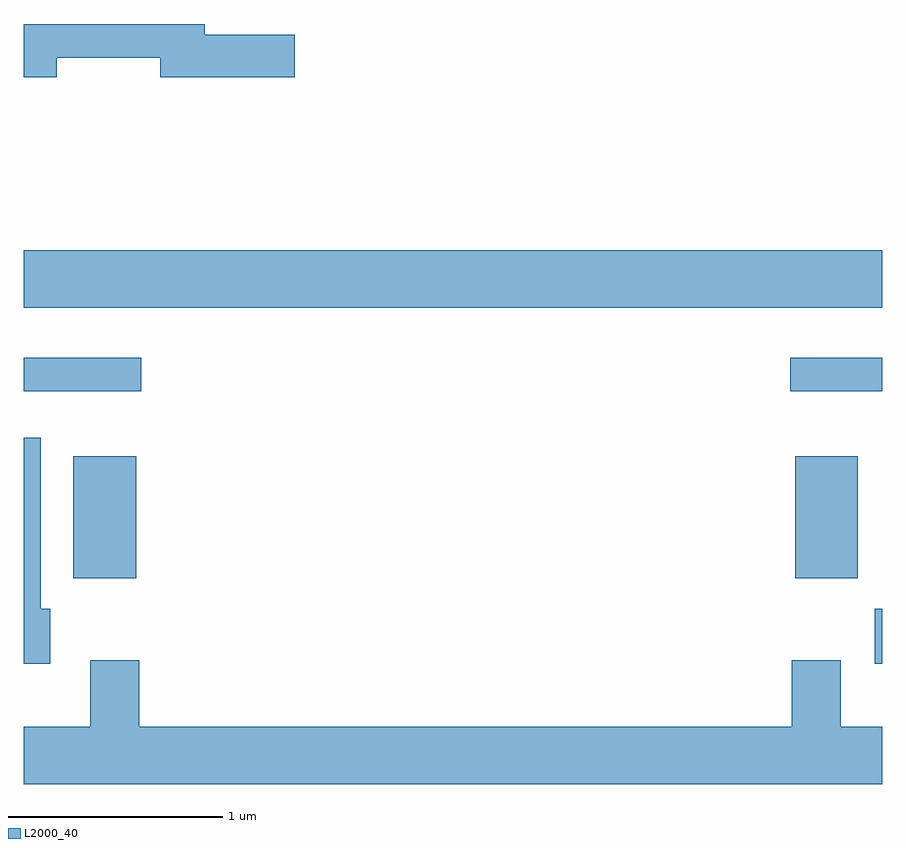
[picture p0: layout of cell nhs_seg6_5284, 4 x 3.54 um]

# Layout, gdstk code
import gdstk
lib = gdstk.Library(unit=1e-6, precision=1e-09)
def R(c, l, rs):  # rectangles x0, y0, x1, y1
    for r in rs: c.add(gdstk.rectangle(r[:2], r[2:], *l))
def P(c, l, *ps):  # polygons
    for p in ps: c.add(gdstk.Polygon(p, *l))
L2000_40 = (2000, 40)

nhs_seg6_5284 = lib.new_cell('nhs_seg6_5284')
R(nhs_seg6_5284, L2000_40, [(349.576,1632.736,349.611,1632.994), (345.841,1633.136,346.134,1633.704), (349.206,1633.136,349.499,1633.704), (345.611,1634.006,346.158,1634.164), (349.183,1634.006,349.611,1634.164), (345.611,1634.396,349.611,1634.664)])
P(nhs_seg6_5284, L2000_40, [(345.764,1635.561),(346.246,1635.561),(346.246,1635.471),(346.874,1635.471),(346.874,1635.669),(346.454,1635.669),(346.454,1635.719),(345.611,1635.719),(345.611,1635.471),(345.764,1635.471)],
  [(345.734,1632.994),(345.689,1632.994),(345.689,1633.789),(345.611,1633.789),(345.611,1632.736),(345.734,1632.736)],
  [(349.611,1632.444),(349.419,1632.444),(349.419,1632.754),(349.191,1632.754),(349.191,1632.444),(346.149,1632.444),(346.149,1632.754),(345.921,1632.754),(345.921,1632.444),(345.611,1632.444),(345.611,1632.176),(349.611,1632.176)])

lib.write_gds('nhs_seg6_5284.gds')
